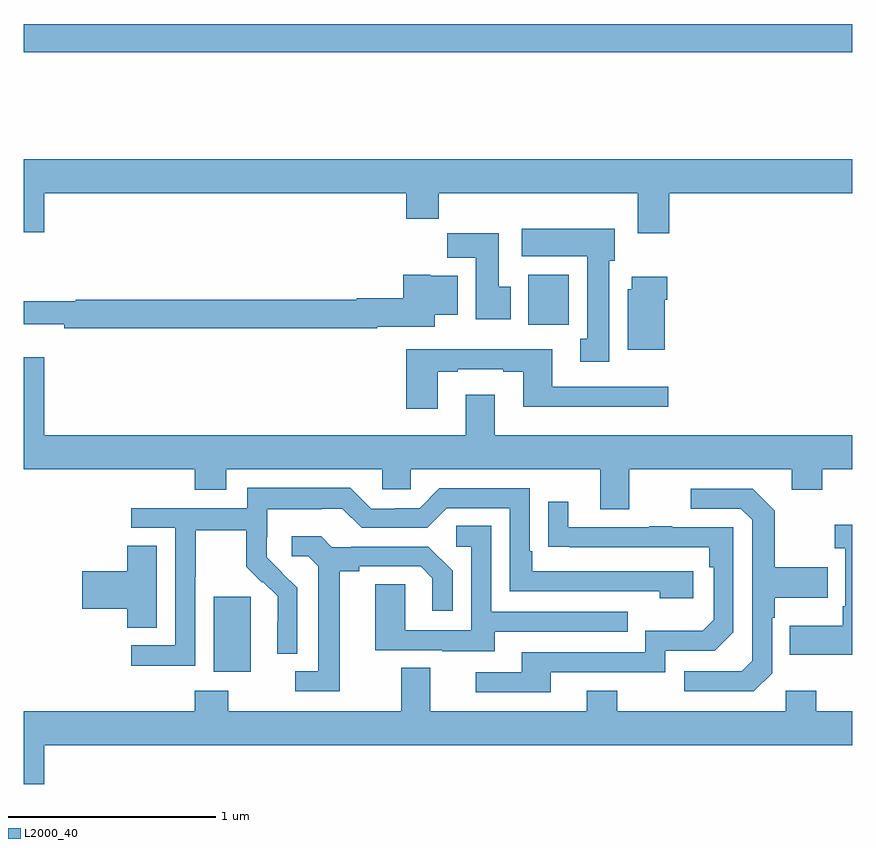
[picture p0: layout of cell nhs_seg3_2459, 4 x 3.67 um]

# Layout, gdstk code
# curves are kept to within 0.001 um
import gdstk
lib = gdstk.Library(unit=1e-6, precision=1e-09)
def R(c, l, rs):  # rectangles x0, y0, x1, y1
    for r in rs: c.add(gdstk.rectangle(r[:2], r[2:], *l))
def P(c, l, *ps):  # polygons
    for p in ps: c.add(gdstk.Polygon(p, *l))
L2000_40 = (2000, 40)

nhs_seg3_2459 = lib.new_cell('nhs_seg3_2459')
R(nhs_seg3_2459, L2000_40, [(237.917,737.234,238.096,737.595), (239.435,738.908,239.632,739.15), (237,740.224,241,740.36)])
P(nhs_seg3_2459, L2000_40, [(240.116,739.544),(241,739.544),(241,739.708),(237,739.708),(237,739.356),(237.1,739.356),(237.1,739.544),(238.847,739.544),(238.847,739.42),(239.003,739.42),(239.003,739.544),(239.963,739.544),(239.963,739.35),(240.116,739.35)],
  [(239.827,739.218),(239.854,739.218),(239.854,739.372),(239.403,739.372),(239.403,739.238),(239.72,739.238),(239.72,738.842),(239.687,738.842),(239.687,738.729),(239.827,738.729)],
  [(239.35,739.092),(239.293,739.092),(239.293,739.351),(239.044,739.351),(239.044,739.232),(239.183,739.232),(239.183,738.936),(239.35,738.936)],
  [(238.708,738.899),(238.984,738.899),(238.984,738.956),(239.095,738.956),(239.095,739.144),(238.962,739.144),(238.962,739.15),(238.832,739.15),(238.832,739.036),(238.608,739.036),(238.608,739.028),(237.251,739.028),(237.251,739.021),(237,739.021),(237,738.911),(237.196,738.911),(237.196,738.892),(238.708,738.892)],
  [(240.094,739.028),(240.107,739.028),(240.107,739.141),(239.936,739.141),(239.936,739.08),(239.915,739.08),(239.915,738.788),(240.094,738.788)],
  [(238.999,738.681),(239.095,738.681),(239.095,738.693),(239.315,738.693),(239.315,738.681),(239.411,738.681),(239.411,738.512),(240.112,738.512),(240.112,738.609),(239.551,738.609),(239.551,738.79),(238.847,738.79),(238.847,738.504),(238.999,738.504)],
  [(237.1,738.751),(237,738.751),(237,738.212),(237.827,738.212),(237.827,738.113),(237.979,738.113),(237.979,738.212),(238.731,738.212),(238.731,738.114),(238.869,738.114),(238.869,738.212),(239.783,738.212),(239.783,738.018),(239.923,738.018),(239.923,738.212),(240.707,738.212),(240.707,738.113),(240.855,738.113),(240.855,738.212),(241,738.212),(241,738.376),(239.275,738.376),(239.275,738.571),(239.135,738.571),(239.135,738.376),(237.1,738.376)],
  [(237.828,737.692),(237.831,737.692),(237.831,737.916),(238.075,737.916),(238.075,737.741),(238.152,737.664),(238.155,737.667),(238.226,737.597),(238.226,737.474),(238.224,737.474),(238.224,737.32),(238.32,737.32),(238.32,737.638),(238.174,737.786),(238.174,737.883),(238.176,737.883),(238.176,738.017),(238.439,738.017),(238.439,738.021),(238.539,738.021),(238.632,737.928),(238.947,737.928),(239.043,738.024),(239.346,738.024),(239.346,737.622),(240.071,737.622),(240.071,737.588),(240.232,737.588),(240.232,737.718),(239.455,737.718),(239.455,737.815),(239.442,737.815),(239.442,738.12),(239.007,738.12),(238.911,738.024),(238.793,738.024),(238.793,738.021),(238.677,738.021),(238.577,738.121),(238.08,738.121),(238.08,738.024),(237.519,738.024),(237.519,737.928),(237.732,737.928),(237.732,737.361),(237.519,737.361),(237.519,737.263),(237.828,737.263)],
  [(240.612,737.226),(240.612,737.495),(240.625,737.495),(240.625,737.591),(240.881,737.591),(240.881,737.739),(240.625,737.739),(240.625,738.011),(240.519,738.117),(240.219,738.117),(240.219,738.021),(240.462,738.021),(240.516,737.967),(240.516,737.286),(240.465,737.235),(240.189,737.235),(240.189,737.139),(240.525,737.139)],
  [(239.545,737.232),(240.096,737.232),(240.096,737.334),(240.336,737.334),(240.426,737.424),(240.426,737.931),(240.131,737.931),(240.131,737.936),(240.019,737.936),(240.019,737.931),(239.629,737.931),(239.629,738.055),(239.533,738.055),(239.533,737.836),(240.31,737.835),(240.31,737.738),(240.33,737.738),(240.33,737.484),(240.277,737.431),(240,737.431),(240,737.328),(239.405,737.328),(239.405,737.232),(239.181,737.232),(239.181,737.136),(239.545,737.136)],
  [(241,737.944),(240.915,737.944),(240.915,737.831),(240.966,737.831),(240.966,737.551),(240.954,737.551),(240.954,737.455),(240.697,737.455),(240.697,737.315),(241,737.315)],
  [(239.275,737.427),(239.915,737.427),(239.915,737.523),(239.256,737.523),(239.256,737.939),(239.088,737.939),(239.088,737.838),(239.16,737.838),(239.16,737.433),(238.842,737.433),(238.842,737.657),(238.697,737.657),(238.697,737.337),(239.021,737.337),(239.021,737.333),(239.275,737.333)],
  [(238.525,737.72),(238.621,737.72),(238.621,737.742),(238.916,737.742),(238.973,737.685),(238.973,737.529),(239.07,737.529),(239.07,737.722),(238.954,737.838),(238.582,737.838),(238.582,737.835),(238.488,737.835),(238.436,737.887),(238.293,737.887),(238.293,737.79),(238.374,737.79),(238.421,737.743),(238.421,737.235),(238.311,737.235),(238.311,737.139),(238.525,737.139)],
  [(237.643,737.843),(237.5,737.843),(237.5,737.72),(237.282,737.72),(237.282,737.537),(237.5,737.537),(237.5,737.446),(237.643,737.446)],
  [(237.1,736.88),(241,736.88),(241,737.044),(240.825,737.044),(240.825,737.143),(240.678,737.143),(240.678,737.044),(239.865,737.044),(239.865,737.143),(239.717,737.143),(239.717,737.044),(238.963,737.044),(238.963,737.252),(238.823,737.252),(238.823,737.044),(237.987,737.044),(237.987,737.143),(237.827,737.143),(237.827,737.044),(237,737.044),(237,736.692),(237.1,736.692)])

lib.write_gds('nhs_seg3_2459.gds')
